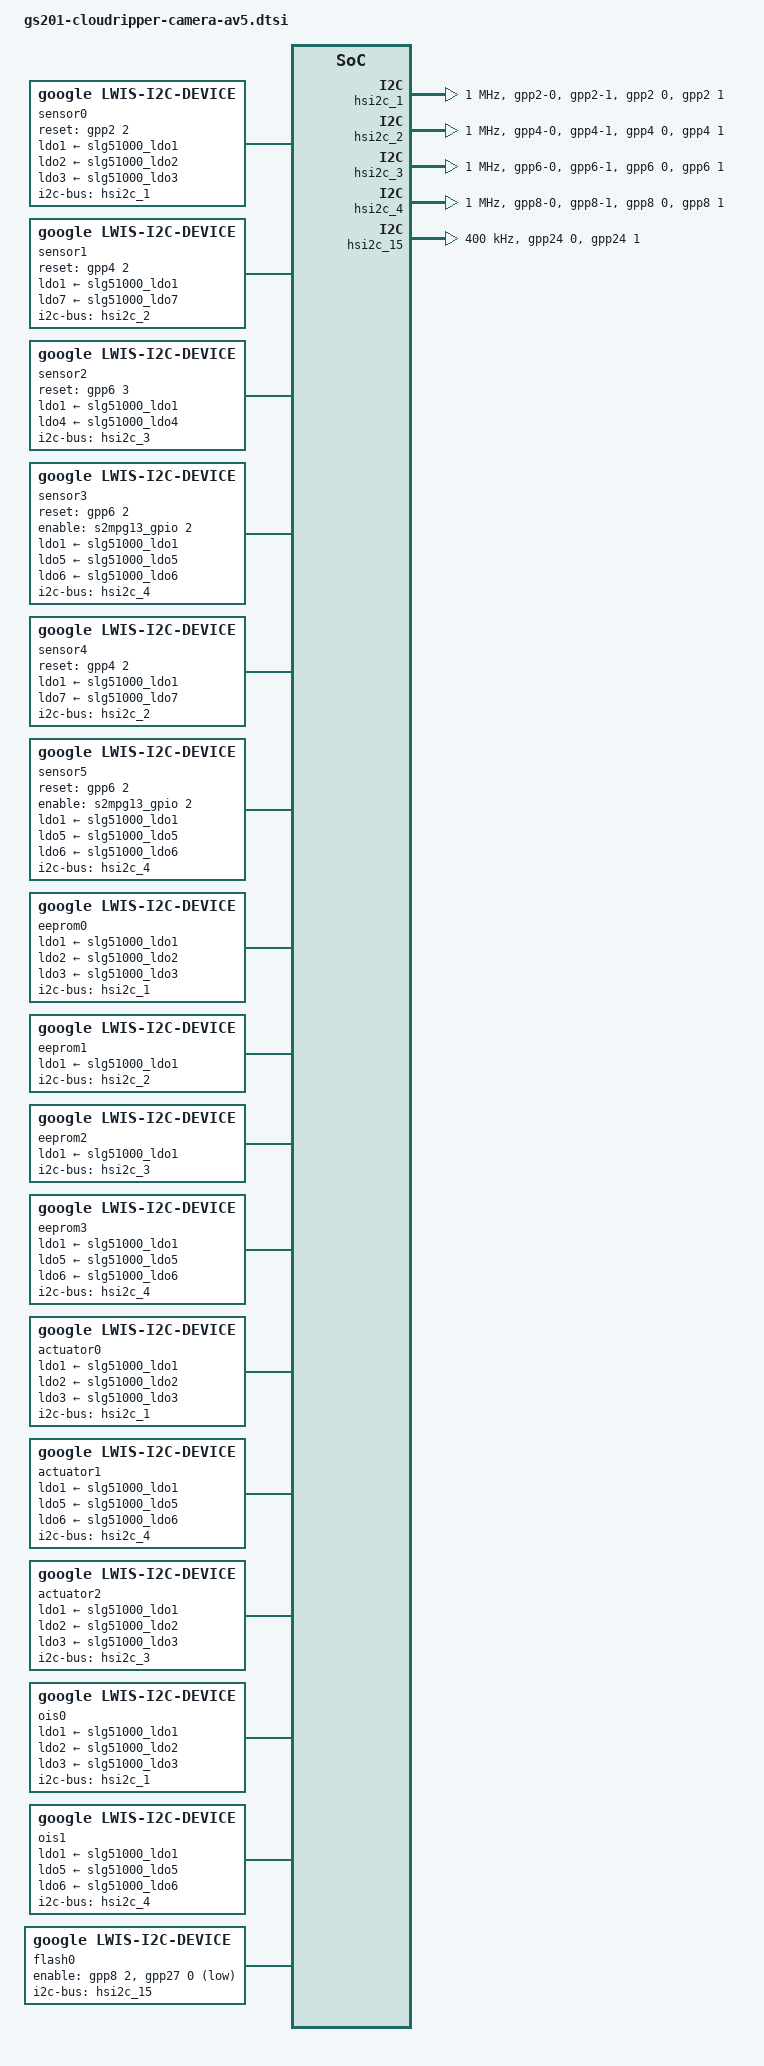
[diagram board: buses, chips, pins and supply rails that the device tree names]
// SPDX-License-Identifier: GPL-2.0-only
/*
 * gs201 camera lwis device tree source for av5
 *
 * Copyright 2021 Google LLC.
 *
 */

#include <dt-bindings/clock/gs201.h>
#include <dt-bindings/gpio/gpio.h>
#include <arm64/exynos/exynos-pinctrl.h>
#include "gs201/gs101-pinctrl.h"

&pinctrl_4 {
	hsi2c1_bus: hsi2c1-bus {
		samsung,pin-pud = <EXYNOS_PIN_PULL_UP>;
	};

	hsi2c1_bus_in: hsi2c1-bus-in {
		samsung,pins = "gpp2-0", "gpp2-1";
		samsung,pin-function = <EXYNOS_PIN_FUNC_INPUT>;
		samsung,pin-pud = <EXYNOS_PIN_PULL_NONE>;
		samsung,pin-drv = <GS101_PIN_DRV_2_5_MA>;
	};

	hsi2c2_bus: hsi2c2-bus {
		samsung,pin-pud = <EXYNOS_PIN_PULL_UP>;
	};

	hsi2c2_bus_in: hsi2c2-bus-in {
		samsung,pins = "gpp4-0", "gpp4-1";
		samsung,pin-function = <EXYNOS_PIN_FUNC_INPUT>;
		samsung,pin-pud = <EXYNOS_PIN_PULL_NONE>;
		samsung,pin-drv = <GS101_PIN_DRV_2_5_MA>;
	};

	hsi2c3_bus: hsi2c3-bus {
		samsung,pin-pud = <EXYNOS_PIN_PULL_UP>;
	};

	hsi2c3_bus_in: hsi2c3-bus-in {
		samsung,pins = "gpp6-0", "gpp6-1";
		samsung,pin-function = <EXYNOS_PIN_FUNC_INPUT>;
		samsung,pin-pud = <EXYNOS_PIN_PULL_NONE>;
		samsung,pin-drv = <GS101_PIN_DRV_2_5_MA>;
	};

	hsi2c4_bus: hsi2c4-bus {
		samsung,pin-pud = <EXYNOS_PIN_PULL_UP>;
	};

	hsi2c4_bus_in: hsi2c4-bus-in {
		samsung,pins = "gpp8-0", "gpp8-1";
		samsung,pin-function = <EXYNOS_PIN_FUNC_INPUT>;
		samsung,pin-pud = <EXYNOS_PIN_PULL_NONE>;
		samsung,pin-drv = <GS101_PIN_DRV_2_5_MA>;
	};
};

&hsi2c_1 {
	#address-cells = <1>;
	#size-cells = <0>;
	gpios = <&gpp2 0 GPIO_ACTIVE_HIGH &gpp2 1 GPIO_ACTIVE_HIGH>;
	status = "okay";
	clock-frequency = <1000000>;
	samsung,reset-before-trans;

	pinctrl-names = "default","on_i2c","off_i2c";
	pinctrl-0 = <&hsi2c1_bus_in>;
	pinctrl-1 = <&hsi2c1_bus>;
	pinctrl-2 = <&hsi2c1_bus_in>;
};

&hsi2c_2 {
	#address-cells = <1>;
	#size-cells = <0>;
	gpios = <&gpp4 0 GPIO_ACTIVE_HIGH &gpp4 1 GPIO_ACTIVE_HIGH>;
	status = "okay";
	clock-frequency = <1000000>;
	samsung,reset-before-trans;

	pinctrl-names = "default","on_i2c","off_i2c";
	pinctrl-0 = <&hsi2c2_bus_in>;
	pinctrl-1 = <&hsi2c2_bus>;
	pinctrl-2 = <&hsi2c2_bus_in>;
};

&hsi2c_3 {
	#address-cells = <1>;
	#size-cells = <0>;
	gpios = <&gpp6 0 GPIO_ACTIVE_HIGH &gpp6 1 GPIO_ACTIVE_HIGH>;
	status = "okay";
	clock-frequency = <1000000>;
	samsung,reset-before-trans;

	pinctrl-names = "default","on_i2c","off_i2c";
	pinctrl-0 = <&hsi2c3_bus_in>;
	pinctrl-1 = <&hsi2c3_bus>;
	pinctrl-2 = <&hsi2c3_bus_in>;
};

&hsi2c_4 {
	#address-cells = <1>;
	#size-cells = <0>;
	gpios = <&gpp8 0 GPIO_ACTIVE_HIGH &gpp8 1 GPIO_ACTIVE_HIGH>;
	status = "okay";
	clock-frequency = <1000000>;
	samsung,reset-before-trans;

	pinctrl-names = "default","on_i2c","off_i2c";
	pinctrl-0 = <&hsi2c4_bus_in>;
	pinctrl-1 = <&hsi2c4_bus>;
	pinctrl-2 = <&hsi2c4_bus_in>;
};

&hsi2c_15 {
	#address-cells = <1>;
	#size-cells = <0>;
	gpios = <&gpp24 0 GPIO_ACTIVE_HIGH &gpp24 1 GPIO_ACTIVE_HIGH>;
	status = "okay";
	clock-frequency = <400000>;

	pinctrl-names = "default","on_i2c","off_i2c";
	pinctrl-0 = <&hsi2c15_bus>;
	pinctrl-1 = <&hsi2c15_bus>;
	pinctrl-2 = <&hsi2c15_bus>;
};
/ {
	fragment@lwiscamera {
		target-path = "/";
		__overlay__ {
			/* REAR CAMERA NAGUAL */
			sensor0: sensor@0 {
				compatible = "google,lwis-i2c-device";

				/* Device node name */
				node-name = "sensor-nagual";

				/* I2C */
				i2c-bus = <&hsi2c_1>;
				i2c-addr = <0x3D>;

				/* Registers */
				reg-addr-bitwidth = <16>;
				reg-value-bitwidth = <16>;

				/* GPIOs */
				/* CSID_RST_L GPP2[2] */
				reset-gpios = <&gpp2 2 GPIO_ACTIVE_HIGH>;

				/* Power supplies */
				ldo1-supply = <&slg51000_ldo1>;
				ldo2-supply = <&slg51000_ldo2>;
				ldo3-supply = <&slg51000_ldo3>;

				clocks =
					<&clock CIS_CLK3>,
					<&clock GATE_DFTMUX_CMU_CIS_CLK3>;
				clock-names =
					"CIS_CLK3",
					"GATE_DFTMUX_CMU_CIS_CLK3";
				clock-rates =
					<26000000>,
					<0>;

				/* MCLK Control */
				pinctrl-names = "mclk_on", "mclk_off";
				pinctrl-0 = <&sensor_mclk4_fn>;
				pinctrl-1 = <&sensor_mclk4_out>;

				/* Power up sequence */
				power-up-seqs =
					"ldo1",
					"ldo2",
					"ldo3",
					"reset",
					"mclk_on";
				power-up-seq-types =
					"regulator",
					"regulator",
					"regulator",
					"gpio",
					"pinctrl";
				power-up-seq-delays-us =
					<1000
					 1000
					 1000
					 1000
					 9000>;

				/* Power down sequence */
				power-down-seqs =
					"mclk_off",
					"reset",
					"ldo3",
					"ldo2",
					"ldo1";
				power-down-seq-types =
					"pinctrl",
					"gpio",
					"regulator",
					"regulator",
					"regulator";
				power-down-seq-delays-us =
					<1000
					 1000
					 2000
					 1000
					 1000>;
			};

			/* FRONT CAMERA BURAQ */
			sensor1: sensor@1 {
				compatible = "google,lwis-i2c-device";

				/* Device node name */
				node-name = "sensor-buraq";

				/* I2C */
				i2c-bus = <&hsi2c_2>;
				i2c-addr = <0x1A>;

				/* Registers */
				reg-addr-bitwidth = <16>;
				reg-value-bitwidth = <8>;

				/* GPIOs */
				reset-gpios = <&gpp4 2 GPIO_ACTIVE_HIGH>;

				/* Power supplies */
				ldo1-supply = <&slg51000_ldo1>;
				ldo7-supply = <&slg51000_ldo7>;

				clocks =
					<&clock CIS_CLK1>,
					<&clock GATE_DFTMUX_CMU_CIS_CLK1>;
				clock-names =
					"CIS_CLK1",
					"GATE_DFTMUX_CMU_CIS_CLK1";
				clock-rates =
					<24000000>,
					<0>;

				/* MCLK Control */
				pinctrl-names = "mclk_on", "mclk_off";
				pinctrl-0 = <&sensor_mclk2_fn>;
				pinctrl-1 = <&sensor_mclk2_out>;

				/* Power up sequence */
				power-up-seqs =
					"ldo1",
					"ldo7",
					"mclk_on",
					"reset";
				power-up-seq-types =
					"regulator",
					"regulator",
					"pinctrl",
					"gpio";
				power-up-seq-delays-us =
					<1000
					 1000
					 1000
					 8000>;

				/* Power down sequence */
				power-down-seqs =
					"reset",
					"mclk_off",
					"ldo7",
					"ldo1";
				power-down-seq-types =
					"gpio",
					"pinctrl",
					"regulator",
					"regulator";
				power-down-seq-delays-us =
					<1000
					 1000
					 1000
					 1000>;
			};

			/* REAR ULTRA WIDE CAMERA SANDWORM */
			sensor2: sensor@2 {
				compatible = "google,lwis-i2c-device";

				/* Device node name */
				node-name = "sensor-sandworm";

				/* I2C */
				i2c-bus = <&hsi2c_3>;
				i2c-addr = <0x1A>;

				/* Registers */
				reg-addr-bitwidth = <16>;
				reg-value-bitwidth = <8>;

				/* GPIOs */
				reset-gpios = <&gpp6 3 GPIO_ACTIVE_HIGH>;

				/* Power supplies */
				ldo1-supply = <&slg51000_ldo1>;
				ldo4-supply = <&slg51000_ldo4>;

				clocks =
					<&clock CIS_CLK0>,
					<&clock GATE_DFTMUX_CMU_CIS_CLK0>;
				clock-names =
					"CIS_CLK0",
					"GATE_DFTMUX_CMU_CIS_CLK0";
				clock-rates =
					<24000000>,
					<0>;

				/* MCLK Control */
				pinctrl-names = "mclk_on", "mclk_off";
				pinctrl-0 = <&sensor_mclk1_fn>;
				pinctrl-1 = <&sensor_mclk1_out>;

				/* Power up sequence */
				power-up-seqs =
					"ldo1",
					"ldo4",
					"mclk_on",
					"reset";
				power-up-seq-types =
					"regulator",
					"regulator",
					"pinctrl",
					"gpio";
				power-up-seq-delays-us =
					<3000
					 1000
					 1000
					 10000>;

				/* Power down sequence */
				power-down-seqs =
					"reset",
					"mclk_off",
					"ldo4",
					"ldo1";
				power-down-seq-types =
					"gpio",
					"pinctrl",
					"regulator",
					"regulator";
				power-down-seq-delays-us =
					<1000
					 1000
					 3000
					 1000>;
			};

			/* REAR CAMERA LAMASSU */
			sensor3: sensor@3 {
				compatible = "google,lwis-i2c-device";

				/* Device node name */
				node-name = "sensor-lamassu";

				/* I2C */
				i2c-bus = <&hsi2c_4>;
				i2c-addr = <0x1A>;

				/* Registers */
				reg-addr-bitwidth = <16>;
				reg-value-bitwidth = <8>;

				/* GPIOs */
				/* RTCAM_RST_L GPP6[2] */
				reset-gpios = <&gpp6 2 GPIO_ACTIVE_HIGH>;

				/* Power supplies */
				ldo1-supply = <&slg51000_ldo1>;
				ldo5-supply = <&slg51000_ldo5>;
				ldo6-supply = <&slg51000_ldo6>;

				/* RTCAM_EN_S2MPG11 GPIO8 */
				enable-gpios =
					<&s2mpg13_gpio 2 GPIO_ACTIVE_HIGH>;

				clocks =
					<&clock CIS_CLK2>,
					<&clock GATE_DFTMUX_CMU_CIS_CLK2>;
				clock-names =
					"CIS_CLK2",
					"GATE_DFTMUX_CMU_CIS_CLK2";
				clock-rates =
					<24000000>,
					<0>;

				/* MCLK Control */
				pinctrl-names = "mclk_on", "mclk_off";
				pinctrl-0 = <&sensor_mclk3_fn>;
				pinctrl-1 = <&sensor_mclk3_out>;

				/* Power up sequence */
				power-up-seqs =
					"ldo1",
					"ldo5",
					"enable",
					"ldo6",
					"mclk_on",
					"reset";
				power-up-seq-types =
					"regulator",
					"regulator",
					"gpio",
					"regulator",
					"pinctrl",
					"gpio";
				power-up-seq-delays-us =
					<1000
					 3000
					 1000
					 0
					 0
					 8000>;

				/* Power down sequence */
				power-down-seqs =
					"reset",
					"mclk_off",
					"ldo6",
					"enable",
					"ldo5",
					"ldo1";
				power-down-seq-types =
					"gpio",
					"pinctrl",
					"regulator",
					"gpio",
					"regulator",
					"regulator";
				power-down-seq-delays-us =
					<0
					 1000
					 1000
					 3000
					 1000
					 1000>;
			};

			/* FRONT CAMERA DOKKAEBI */
			sensor4: sensor@4 {
				compatible = "google,lwis-i2c-device";

				/* Device node name */
				node-name = "sensor-dokkaebi";

				/* I2C */
				i2c-bus = <&hsi2c_2>;
				i2c-addr = <0x10>;

				/* Registers */
				reg-addr-bitwidth = <16>;
				reg-value-bitwidth = <16>;

				/* GPIOs */
				reset-gpios = <&gpp4 2 GPIO_ACTIVE_HIGH>;

				/* Power supplies */
				ldo1-supply = <&slg51000_ldo1>;
				ldo7-supply = <&slg51000_ldo7>;

				clocks =
					<&clock CIS_CLK1>,
					<&clock GATE_DFTMUX_CMU_CIS_CLK1>;
				clock-names =
					"CIS_CLK1",
					"GATE_DFTMUX_CMU_CIS_CLK1";
				clock-rates =
					<24000000>,
					<0>;

				/* MCLK Control */
				pinctrl-names = "mclk_on", "mclk_off";
				pinctrl-0 = <&sensor_mclk2_fn>;
				pinctrl-1 = <&sensor_mclk2_out>;

				/* Power up sequence */
				power-up-seqs =
					"ldo1",
					"ldo7",
					"mclk_on",
					"reset";
				power-up-seq-types =
					"regulator",
					"regulator",
					"pinctrl",
					"gpio";
				power-up-seq-delays-us =
					<1000
					 1000
					 1000
					 8000>;

				/* Power down sequence */
				power-down-seqs =
					"reset",
					"mclk_off",
					"ldo7",
					"ldo1";
				power-down-seq-types =
					"gpio",
					"pinctrl",
					"regulator",
					"regulator";
				power-down-seq-delays-us =
					<1000
					 1000
					 1000
					 1000>;
			};

			/* REAR TELE CAMERA KRAKEN */
			sensor5: sensor@5 {
				compatible = "google,lwis-i2c-device";

				/* Device node name */
				node-name = "sensor-kraken";

				/* I2C */
				i2c-bus = <&hsi2c_4>;
				i2c-addr = <0x2D>;

				/* Registers */
				reg-addr-bitwidth = <16>;
				reg-value-bitwidth = <16>;

				/* GPIOs */
				/* RTCAM_RST_L GPP6[2] */
				reset-gpios = <&gpp6 2 GPIO_ACTIVE_HIGH>;

				/* Power supplies */
				ldo1-supply = <&slg51000_ldo1>;
				ldo5-supply = <&slg51000_ldo5>;
				ldo6-supply = <&slg51000_ldo6>;

				/* RTCAM_EN_S2MPG11 GPIO8 */
				enable-gpios =
					<&s2mpg13_gpio 2 GPIO_ACTIVE_HIGH>;

				clocks =
					<&clock CIS_CLK2>,
					<&clock GATE_DFTMUX_CMU_CIS_CLK2>;
				clock-names =
					"CIS_CLK2",
					"GATE_DFTMUX_CMU_CIS_CLK2";
				clock-rates =
					<24000000>,
					<0>;

				/* MCLK Control */
				pinctrl-names = "mclk_on", "mclk_off";
				pinctrl-0 = <&sensor_mclk3_fn>;
				pinctrl-1 = <&sensor_mclk3_out>;

				/* Power up sequence */
				power-up-seqs =
					"ldo1",
					"ldo5",
					"enable",
					"ldo6",
					"mclk_on",
					"reset";
				power-up-seq-types =
					"regulator",
					"regulator",
					"gpio",
					"regulator",
					"pinctrl",
					"gpio";
				power-up-seq-delays-us =
					<1000
					 3000
					 1000
					 0
					 0
					 10000>;

				/* Power down sequence */
				power-down-seqs =
					"reset",
					"mclk_off",
					"ldo6",
					"enable",
					"ldo5",
					"ldo1";
				power-down-seq-types =
					"gpio",
					"pinctrl",
					"regulator",
					"gpio",
					"regulator",
					"regulator";
				power-down-seq-delays-us =
					<0
					 1000
					 1000
					 3000
					 1000
					 1000>;
			};

			/* EEPROM GARGOYLE for NAGUAL*/
			eeprom0: eeprom@0 {
				compatible = "google,lwis-i2c-device";

				/* Device node name */
				node-name = "eeprom-gargoyle";

				/* I2C */
				i2c-bus = <&hsi2c_1>;
				i2c-addr = <0x24>;

				/* Registers */
				reg-addr-bitwidth = <16>;
				reg-value-bitwidth = <32>;

				/* Power supplies */
				ldo1-supply = <&slg51000_ldo1>;
				ldo2-supply = <&slg51000_ldo2>;
				ldo3-supply = <&slg51000_ldo3>;

				/* Power up sequence */
				power-up-seqs =
					"ldo1",
					"ldo2",
					"ldo3";
				power-up-seq-types =
					"regulator",
					"regulator",
					"regulator";
				power-up-seq-delays-us =
					<1000
					 1000
					 1000>;

				/* Power down sequence */
				power-down-seqs =
					"ldo3",
					"ldo2",
					"ldo1";
				power-down-seq-types =
					"regulator",
					"regulator",
					"regulator";
				power-down-seq-delays-us =
					<2000
					 1000
					 1000>;
			};

			/* EEPROM SMAUG for BURAQ */
			eeprom1: eeprom@1 {
				compatible = "google,lwis-i2c-device";

				/* Device node name */
				node-name = "eeprom-smaug-buraq";

				/* I2C */
				i2c-bus = <&hsi2c_2>;
				i2c-addr = <0x51>;

				/* Registers */
				reg-addr-bitwidth = <16>;
				reg-value-bitwidth = <8>;

				/* Power supplies */
				ldo1-supply = <&slg51000_ldo1>;

				/* Power up sequence */
				power-up-seqs =
					"ldo1";
				power-up-seq-types =
					"regulator";
				power-up-seq-delays-us =
					<1000>;

				/* Power down sequence */
				power-down-seqs =
					"ldo1";
				power-down-seq-types =
					"regulator";
				power-down-seq-delays-us =
					<1000>;
			};

			/* EEPROM SMAUG for SANDWORM */
			eeprom2: eeprom@2 {
				compatible = "google,lwis-i2c-device";

				/* Device node name */
				node-name = "eeprom-smaug-sandworm";

				/* I2C */
				i2c-bus = <&hsi2c_3>;
				i2c-addr = <0x50>;

				/* Registers */
				reg-addr-bitwidth = <16>;
				reg-value-bitwidth = <8>;

				/* Power supplies */
				ldo1-supply = <&slg51000_ldo1>;

				/* Power up sequence */
				power-up-seqs =
					"ldo1";
				power-up-seq-types =
					"regulator";
				power-up-seq-delays-us =
					<1000>;

				/* Power down sequence */
				power-down-seqs =
					"ldo1";
				power-down-seq-types =
					"regulator";
				power-down-seq-delays-us =
					<1000>;
			};

			/* EEPROM JOTNAR for LAMASSU*/
			eeprom3: eeprom@3 {
				compatible = "google,lwis-i2c-device";

				/* Device node name */
				node-name = "eeprom-jotnar";

				/* I2C */
				i2c-bus = <&hsi2c_4>;
				i2c-addr = <0x34>;

				/* Registers */
				reg-addr-bitwidth = <16>;
				reg-value-bitwidth = <8>;

				/* Power supplies */
				ldo1-supply = <&slg51000_ldo1>;
				ldo5-supply = <&slg51000_ldo5>;
				ldo6-supply = <&slg51000_ldo6>;

				/* Power up sequence */
				power-up-seqs =
					"ldo1",
					"ldo5",
					"ldo6";
				power-up-seq-types =
					"regulator",
					"regulator",
					"regulator";
				power-up-seq-delays-us =
					<1000
					 4000
					 0000>;

				/* Power down sequence */
				power-down-seqs =
					"ldo6",
					"ldo5",
					"ldo1";
				power-down-seq-types =
					"regulator",
					"regulator",
					"regulator";
				power-down-seq-delays-us =
					<1000
					 4000
					 1000>;
			};

			/* Actuator SLENDERMAN for NAGUAL*/
			actuator0: actuator@0 {
				compatible = "google,lwis-i2c-device";

				/* Device node name */
				node-name = "act-slenderman";

				/* I2C */
				i2c-bus = <&hsi2c_1>;
				i2c-addr = <0xC>;

				/* Registers */
				reg-addr-bitwidth = <8>;
				reg-value-bitwidth = <8>;

				/* Power supplies */
				ldo1-supply = <&slg51000_ldo1>;
				ldo2-supply = <&slg51000_ldo2>;
				ldo3-supply = <&slg51000_ldo3>;

				/* Power up sequence */
				power-up-seqs =
					"ldo1",
					"ldo2",
					"ldo3";
				power-up-seq-types =
					"regulator",
					"regulator",
					"regulator";
				power-up-seq-delays-us =
					<1000
					 1000
					 1000>;

				/* Power down sequence */
				power-down-seqs =
					"ldo3",
					"ldo2",
					"ldo1";
				power-down-seq-types =
					"regulator",
					"regulator",
					"regulator";
				power-down-seq-delays-us =
					<2000
					 1000
					 1000>;
			};

			/* Actuator JOTNAR for LAMASSU / KRAKEN */
			actuator1: actuator@1 {
				compatible = "google,lwis-i2c-device";

				/* Device node name */
				node-name = "act-jotnar";

				/* I2C */
				i2c-bus = <&hsi2c_4>;
				i2c-addr = <0x34>;

				/* Registers */
				reg-addr-bitwidth = <16>;
				reg-value-bitwidth = <8>;

				/* Power supplies */
				ldo1-supply = <&slg51000_ldo1>;
				ldo5-supply = <&slg51000_ldo5>;
				ldo6-supply = <&slg51000_ldo6>;

				/* Power up sequence */
				power-up-seqs =
					"ldo1",
					"ldo5",
					"ldo6";
				power-up-seq-types =
					"regulator",
					"regulator",
					"regulator";
				power-up-seq-delays-us =
					<1000
					 4000
					 0000>;

				/* Power down sequence */
				power-down-seqs =
					"ldo6",
					"ldo5",
					"ldo1";
				power-down-seq-types =
					"regulator",
					"regulator",
					"regulator";
				power-down-seq-delays-us =
					<1000
					 4000
					 1000>;
			};

			/* Actuator SLENDERMAN for SANDWORM */
			actuator2: actuator@2 {
				compatible = "google,lwis-i2c-device";

				/* Device node name */
				node-name = "act-slenderman-sandworm";

				/* I2C */
				i2c-bus = <&hsi2c_3>;
				i2c-addr = <0xF>;

				/* Registers */
				reg-addr-bitwidth = <8>;
				reg-value-bitwidth = <8>;

				/* Power supplies */
				ldo1-supply = <&slg51000_ldo1>;
				ldo2-supply = <&slg51000_ldo2>;
				ldo3-supply = <&slg51000_ldo3>;

				/* Power up sequence */
				power-up-seqs =
					"ldo1",
					"ldo2",
					"ldo3";
				power-up-seq-types =
					"regulator",
					"regulator",
					"regulator";
				power-up-seq-delays-us =
					<1000
					 1000
					 1000>;

				/* Power down sequence */
				power-down-seqs =
					"ldo3",
					"ldo2",
					"ldo1";
				power-down-seq-types =
					"regulator",
					"regulator",
					"regulator";
				power-down-seq-delays-us =
					<2000
					 1000
					 1000>;
			};

			/* Ois GARGOYLE for NAGUAL*/
			ois0: ois@0 {
				compatible = "google,lwis-i2c-device";

				/* Device node name */
				node-name = "ois-gargoyle";

				/* I2C */
				i2c-bus = <&hsi2c_1>;
				i2c-addr = <0x24>;

				/* Registers */
				reg-addr-bitwidth = <16>;
				reg-value-bitwidth = <32>;

				/* Power supplies */
				ldo1-supply = <&slg51000_ldo1>;
				ldo2-supply = <&slg51000_ldo2>;
				ldo3-supply = <&slg51000_ldo3>;

				/* Power up sequence */
				power-up-seqs =
					"ldo1",
					"ldo2",
					"ldo3";
				power-up-seq-types =
					"regulator",
					"regulator",
					"regulator";
				power-up-seq-delays-us =
					<1000
					 1000
					 1000>;

				/* Power down sequence */
				power-down-seqs =
					"ldo3",
					"ldo2",
					"ldo1";
				power-down-seq-types =
					"regulator",
					"regulator",
					"regulator";
				power-down-seq-delays-us =
					<2000
					 1000
					 1000>;
			};

			/* Ois JOTNAR for LAMASSU*/
			ois1: ois@1 {
				compatible = "google,lwis-i2c-device";

				/* Device node name */
				node-name = "ois-jotnar";

				/* I2C */
				i2c-bus = <&hsi2c_4>;
				i2c-addr = <0x34>;

				/* Registers */
				reg-addr-bitwidth = <16>;
				reg-value-bitwidth = <8>;

				/* Power supplies */
				ldo1-supply = <&slg51000_ldo1>;
				ldo5-supply = <&slg51000_ldo5>;
				ldo6-supply = <&slg51000_ldo6>;

				/* Power up sequence */
				power-up-seqs =
					"ldo1",
					"ldo5",
					"ldo6";
				power-up-seq-types =
					"regulator",
					"regulator",
					"regulator";
				power-up-seq-delays-us =
					<1000
					 4000
					 0000>;

				/* Power down sequence */
				power-down-seqs =
					"ldo6",
					"ldo5",
					"ldo1";
				power-down-seq-types =
					"regulator",
					"regulator",
					"regulator";
				power-down-seq-delays-us =
					<1000
					 4000
					 1000>;
			};

			flash0: flash@0 {
				compatible = "google,lwis-i2c-device";

				/* Device node name */
				node-name = "flash-lm3644";

				/* I2C */
				i2c-bus = <&hsi2c_15>;
				i2c-addr = <0x63>;

				/* Registers */
				reg-addr-bitwidth = <8>;
				reg-value-bitwidth = <8>;

				/* Power Management hibernation (deep sleep) */
				/* 1 : enable, 0 : disable */
				pm-hibernation = <0>;

				/* GPIOs */
				/* HW_ENABLE GPP8[2] */
				/* FLASH_STROBE GPP27[0] */
				enable-gpios =
					<&gpp8 2 GPIO_ACTIVE_HIGH
					 &gpp27 0 GPIO_ACTIVE_LOW>;
			};
		};
	};
};
